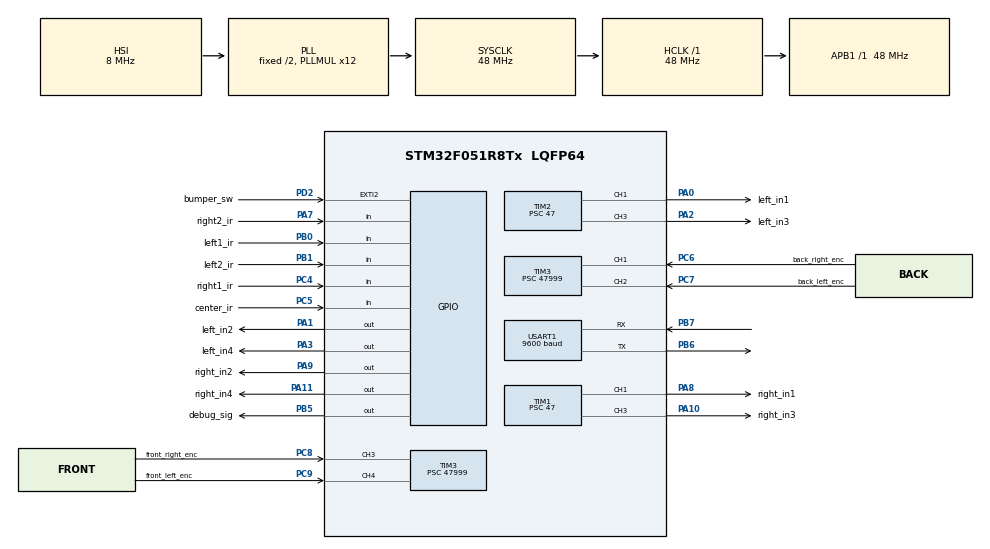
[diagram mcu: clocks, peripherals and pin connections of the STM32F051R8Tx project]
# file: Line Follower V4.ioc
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Mcu.Family=STM32F0
NVIC.TIM6_DAC_IRQn=true\:0\:0\:false\:false\:true\:true\:true
USART1.BaudRate=9600
PA14.GPIO_Label=SWCLK
PA0.GPIO_Label=left_in1
PC6.GPIO_Label=back_right_enc
PB0.GPIO_Label=left1_ir
TIM1.Pulse-PWM\ Generation1\ CH1=50
RCC.SYSCLKSource=RCC_SYSCLKSOURCE_PLLCLK
ProjectManager.StackSize=0x400
TIM3.Channel-Input_Capture3_from_TI3=TIM_CHANNEL_3
TIM1.Prescaler=47
TIM2.Pulse-PWM\ Generation3\ CH3=50
RCC.HCLKFreq_Value=48000000
PB6.Signal=USART1_TX
PC7.Signal=S_TIM3_CH2
PB6.Mode=Asynchronous
RCC.AHBFreq_Value=48000000
Dma.USART1_RX.0.Priority=DMA_PRIORITY_LOW
TIM3.Channel-Input_Capture1_from_TI1=TIM_CHANNEL_1
RCC.PLLMUL=RCC_PLL_MUL12
PC4.GPIO_Label=right1_ir
TIM1.Channel-PWM\ Generation1\ CH1=TIM_CHANNEL_1
PA14.Mode=Serial_Wire
TIM3.Prescaler=47999
PB1.GPIO_Label=left2_ir
PA10.GPIO_Label=right_in3
PB7.Signal=USART1_RX
PA8.Signal=S_TIM1_CH1
TIM2.Channel-PWM\ Generation1\ CH1=TIM_CHANNEL_1
SH.S_TIM3_CH1.0=TIM3_CH1,Input_Capture1_from_TI1
TIM6.Period=9999
Dma.USART1_RX.0.MemInc=DMA_MINC_ENABLE
VP_TIM1_VS_ClockSourceINT.Mode=Internal
PA0.Signal=S_TIM2_CH1_ETR
Mcu.Package=LQFP64
TIM2.Prescaler=47
PB1.Signal=GPIO_Input
PA2.GPIO_Label=left_in3
PA10.Signal=S_TIM1_CH3
PB5.GPIO_Label=debug_sig
RCC.APB1TimFreq_Value=48000000
Dma.USART1_RX.0.Mode=DMA_NORMAL
PC5.Signal=GPIO_Input
TIM1.Period=99
TIM16.Prescaler=2399
NVIC.USART1_IRQn=true\:0\:0\:false\:false\:true\:true\:true
Dma.Request0=USART1_RX
Dma.USART1_RX.0.Instance=DMA1_Channel3
VP_TIM3_VS_ClockSourceINT.Mode=Internal
PA3.Signal=GPIO_Output
Dma.USART1_RX.0.PeriphDataAlignment=DMA_PDATAALIGN_BYTE
TIM3.Channel-Input_Capture2_from_TI2=TIM_CHANNEL_2
PC9.GPIO_Label=front_left_enc
PA9.GPIO_Label=right_in2
PC8.Signal=S_TIM3_CH3
TIM6.Prescaler=23
PC4.Signal=GPIO_Input
PC6.Signal=S_TIM3_CH1
VP_TIM6_VS_ClockSourceINT.Mode=Enable_Timer
PA11.GPIO_Label=right_in4
VP_TIM16_VS_ClockSourceINT.Mode=Enable_Timer
NVIC.TIM16_IRQn=true\:0\:0\:false\:false\:true\:true\:true
SH.S_TIM3_CH3.0=TIM3_CH3,Input_Capture3_from_TI3
TIM2.Pulse-PWM\ Generation1\ CH1=50
PC8.GPIO_Label=front_right_enc
USART1.VirtualMode-Asynchronous=VM_ASYNC
PA13.Signal=SYS_SWDIO
PA8.GPIO_Label=right_in1
SH.S_TIM1_CH1.0=TIM1_CH1,PWM Generation1 CH1
ProjectManager.TargetToolchain=STM32CubeIDE
Dma.USART1_RX.0.Direction=DMA_PERIPH_TO_MEMORY
PA9.Signal=GPIO_Output
PA1.Signal=GPIO_Output
Dma.USART1_RX.0.PeriphInc=DMA_PINC_DISABLE
SH.S_TIM3_CH2.0=TIM3_CH2,Input_Capture2_from_TI2
board=STM32F0DISCOVERY
NVIC.TIM3_IRQn=true\:0\:0\:false\:false\:true\:true\:true
TIM16.Period=9999
VP_TIM2_VS_ClockSourceINT.Mode=Internal
SH.S_TIM2_CH3.0=TIM2_CH3,PWM Generation3 CH3
PA1.GPIO_Label=left_in2
TIM2.Channel-PWM\ Generation3\ CH3=TIM_CHANNEL_3
Dma.USART1_RX.0.MemDataAlignment=DMA_MDATAALIGN_BYTE
TIM3.Channel-Input_Capture4_from_TI4=TIM_CHANNEL_4
TIM2.Period=99
PA13.Mode=Serial_Wire
Mcu.Name=STM32F051R8Tx
PA2.Signal=S_TIM2_CH3
PA13.GPIO_Label=SWDIO
PC7.GPIO_Label=back_left_enc
RCC.SYSCLKFreq_VALUE=48000000
PB5.Signal=GPIO_Output
PA7.GPIO_Label=right2_ir
PC5.GPIO_Label=center_ir
PB7.Mode=Asynchronous
PA11.Signal=GPIO_Output
SH.S_TIM2_CH1_ETR.0=TIM2_CH1,PWM Generation1 CH1
PA14.Signal=SYS_SWCLK
ProjectManager.HeapSize=0x200
SH.S_TIM1_CH3.0=TIM1_CH3,PWM Generation3 CH3
NVIC.DMA1_Channel2_3_IRQn=true\:0\:0\:false\:false\:true\:false\:true
TIM3.ICFilter_CH4=15
TIM3.ICFilter_CH3=15
TIM3.ICFilter_CH2=15
TIM3.ICFilter_CH1=15
PC9.Signal=S_TIM3_CH4
TIM1.Channel-PWM\ Generation3\ CH3=TIM_CHANNEL_3
PD2.Signal=GPXTI2
RCC.APB1Freq_Value=48000000
PB0.Signal=GPIO_Input
PD2.GPIO_Label=bumper_sw
PA3.GPIO_Label=left_in4
SH.S_TIM3_CH4.0=TIM3_CH4,Input_Capture4_from_TI4
PA7.Signal=GPIO_Input

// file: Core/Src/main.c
/* USER CODE BEGIN Header */
/**
  ******************************************************************************
  * @file           : main.c
  * @brief          : Main program body
  ******************************************************************************
  * @attention
  *
  * <h2><center>&copy; Copyright (c) 2025 STMicroelectronics.
  * All rights reserved.</center></h2>
  *
  * This software component is licensed by ST under BSD 3-Clause license,
  * the "License"; You may not use this file except in compliance with the
  * License. You may obtain a copy of the License at:
  *                        opensource.org/licenses/BSD-3-Clause
  *
  ******************************************************************************
  */
/* USER CODE END Header */
#include "main.h"

/* USER CODE BEGIN Includes */
#include <string.h>
#include <stdio.h>
#include <ctype.h>
/* USER CODE END Includes */

/* USER CODE BEGIN PTD */
typedef enum{
	idle, manual_mode, follow_line, follow_line_until_turn, turn_right, turn_left, turn_around, t_intersection, finish
} state;

typedef enum{
	start_seq1, start_seq2, length, payload, checksum, send_data, req_resend, finished
} receive_fsm;

/* USER CODE END PTD */

TIM_HandleTypeDef htim1;
TIM_HandleTypeDef htim2;
TIM_HandleTypeDef htim3;
TIM_HandleTypeDef htim6;
TIM_HandleTypeDef htim16;

UART_HandleTypeDef huart1;
DMA_HandleTypeDef hdma_usart1_rx;

/* USER CODE BEGIN PV */
state robot_state = idle;

volatile uint8_t sw_pushed = 0;

volatile uint8_t remote_msg_received = 1;

char msg[100] = "";

uint8_t msg_from_remote[50];

uint8_t left_joy_x = 50;
uint8_t left_joy_y = 50;
uint8_t right_joy_x = 50;
uint8_t right_joy_y = 50;

uint8_t in_manual_mode = 0;
uint8_t start_robot = 0;
uint8_t in_tank_mode = 0;
uint8_t manual_mode_pulse_width = 50;

uint8_t started_by_remote = 0;

// state of the IR sensors under the robot (0 = white and 1 = black)
uint8_t left2 = 0;
uint8_t left1 = 0;
uint8_t center = 0;
uint8_t right1 = 0;
uint8_t right2 = 0;

uint8_t after_turn_around = 0;

uint8_t slow_pulse_width = 50;					// pulse width of the signal that drives the motors to move the robot slowly (in percentage!)
uint8_t fast_pulse_width = 98;					// pulse width of the signal that drives the motors to move the robot fast (in percentage!)

// variables to keep track of the current encoder count from the timer
volatile uint32_t front_left_enc_count = 0;
volatile uint32_t front_right_enc_count = 0;
volatile uint32_t back_left_enc_count = 0;
volatile uint32_t back_right_enc_count = 0;

// variables to keep track of the previous encoder count from the timer
uint32_t wheel_enc_count[4] = {0, 0, 0, 0};		// front left, front right, back left, back right

/* USER CODE END PV */

void SystemClock_Config(void);
static void MX_GPIO_Init(void);
static void MX_DMA_Init(void);
static void MX_TIM6_Init(void);
static void MX_USART1_UART_Init(void);
static void MX_TIM16_Init(void);
static void MX_TIM1_Init(void);
static void MX_TIM2_Init(void);
static void MX_TIM3_Init(void);
/* USER CODE BEGIN PFP */
void move_forward(uint8_t pulse_width);
void move_backward(uint8_t pulse_width);
void steer_right(uint8_t pulse_width);
void steer_left(uint8_t pulse_width);
void stop(void);
void record_current_enc_pos(void);
void transmit_data(uint8_t resend);
uint8_t process_data(uint8_t *darray, uint8_t start, uint8_t end);

uint8_t suff_dist_traveled(uint32_t travel_dist);

uint16_t calc_pulse_val(TIM_HandleTypeDef *htim, uint8_t pulse_width);
uint16_t calc_inv_pulse_val(TIM_HandleTypeDef *htim, uint8_t pulse_width);
/* USER CODE END PFP */

int main(void)
{

  /* MCU Configuration--------------------------------------------------------*/

  /* Reset of all peripherals, Initializes the Flash interface and the Systick. */
  HAL_Init();

  /* Configure the system clock */
  SystemClock_Config();

  /* Initialize all configured peripherals */
  MX_GPIO_Init();
  MX_DMA_Init();
  MX_TIM6_Init();
  MX_USART1_UART_Init();
  MX_TIM16_Init();
  MX_TIM1_Init();
  MX_TIM2_Init();
  MX_TIM3_Init();
  /* USER CODE BEGIN 2 */

  HAL_NVIC_SetPriority(EXTI2_3_IRQn, 0, 0);
  HAL_NVIC_EnableIRQ(EXTI2_3_IRQn);

  HAL_TIM_Base_Start_IT(&htim16);
  HAL_TIM_IC_Start_IT(&htim3, TIM_CHANNEL_1);
  HAL_TIM_IC_Start_IT(&htim3, TIM_CHANNEL_2);
  HAL_TIM_IC_Start_IT(&htim3, TIM_CHANNEL_3);
  HAL_TIM_IC_Start_IT(&htim3, TIM_CHANNEL_4);
  /* USER CODE END 2 */

  /* Infinite loop */
  /* USER CODE BEGIN WHILE */
  while (1)
  {
	  // receive data from the remote control
	  if (remote_msg_received) {
		  HAL_GPIO_WritePin(debug_sig_GPIO_Port, debug_sig_Pin, GPIO_PIN_SET);
		  HAL_UART_Receive_DMA(&huart1, msg_from_remote, 12);
		  remote_msg_received = 0;

		  uint8_t msg_len = 0;
		  receive_fsm receiver_state = start_seq1;
		  while (receiver_state != finished) {
			  // state machine for processing the received bytes of data
			  switch(receiver_state) {
			  case start_seq1:
				  if ((char) (msg_from_remote[0]) == 'W') {
					  receiver_state = start_seq2;
				  }
				  else {
					  receiver_state = req_resend;
				  }
				  break;
			  case start_seq2:
				  if ((char) (msg_from_remote[1] == 'Z')) {
					  receiver_state = length;
				  }
				  else {
					  receiver_state = req_resend;
				  }
				  break;
			  case length:
				  msg_len = msg_from_remote[2];
				  receiver_state = payload;
				  break;
			  case payload:	{
				  // the process_data function will return 0 if the robot requested a resend
				  uint8_t ret_val = process_data(msg_from_remote, 3, 3 + msg_len);
				  receiver_state = checksum;
				  break;
			  }
			  case checksum:
				  // perform a cyclic redundancy check
				  // this is not implemented yet!
				  receiver_state = send_data;
				  break;
			  case send_data:
				  // transmit data from the robot to the remote control
				  transmit_data(0);
				  receiver_state = finished;
				  break;
			  case req_resend:
				  transmit_data(1);
				  receiver_state = finished;
				  break;
			  default:
				  break;
			  }
		  }
	  }

	  HAL_GPIO_WritePin(debug_sig_GPIO_Port, debug_sig_Pin, GPIO_PIN_RESET);

	  // sample the IR sensors and store the result in the corresponding variables
	  left2 = (HAL_GPIO_ReadPin(GPIOB, left2_ir_Pin) == GPIO_PIN_SET) ? 1 : 0;
	  left1 = (HAL_GPIO_ReadPin(GPIOB, left1_ir_Pin) == GPIO_PIN_SET) ? 1 : 0;
	  center = (HAL_GPIO_ReadPin(GPIOC, center_ir_Pin) == GPIO_PIN_SET) ? 1 : 0;
	  right1 = (HAL_GPIO_ReadPin(GPIOC, right1_ir_Pin) == GPIO_PIN_SET) ? 1 : 0;
	  right2 = (HAL_GPIO_ReadPin(right2_ir_GPIO_Port, right2_ir_Pin) == GPIO_PIN_SET) ? 1 : 0;

	  // create a state machine to control the robot
	  /*
	   * Note: The control logic for the robot works as follows: the robot will continue moving on it's current path until it runs into an obstacle that
	   * presses it's bumper switch. Then the robot will turn around and take the first turn in the path that it encounters. If the bumper switch is
	   * pressed before it has made it's turn, the robot will stop and shift into idle mode. After the robot makes it's turn, it will shift back into
	   * it's default behavior of following the path until it bumps into something or it reaches the finish line.
	   */
	  switch (robot_state) {
	  	  // do not move until the bumper switch is pressed
		  case idle:
			  stop();

			  if (in_manual_mode) {
				  robot_state = manual_mode;
			  }
			  else if (!in_manual_mode && start_robot) {
				  robot_state = follow_line;
				  started_by_remote = 1;
			  }
			  else {

			  }

			  if (sw_pushed) {
				  sw_pushed = 0;
				  robot_state = follow_line;
			  }
			  break;
		  // in manual mode the robot is directly controlled by the remote control
		  case manual_mode:
			  if (in_tank_mode) {
				  if (left_joy_y < 25 && right_joy_y > 75) {
					  steer_left(manual_mode_pulse_width);
				  }
				  else if (left_joy_y > 75 && right_joy_y < 25) {
					  steer_right(manual_mode_pulse_width);
				  }
				  else if (left_joy_y > 75 && right_joy_y > 75) {
					  move_forward(manual_mode_pulse_width);
				  }
				  else if (left_joy_y < 25 && right_joy_y < 25) {
					  move_backward(manual_mode_pulse_width);
				  }
				  else {
					  stop();
				  }
			  }
			  else {
				  if (left_joy_y < 25) {
					  move_backward(manual_mode_pulse_width);
				  }
				  else if (left_joy_y > 75) {
					  move_forward(manual_mode_pulse_width);
				  }
				  else if (right_joy_x < 25) {
					  steer_left(manual_mode_pulse_width);
				  }
				  else if (right_joy_x > 75) {
					  steer_right(manual_mode_pulse_width);
				  }
				  else {
					  stop();
				  }
			  }

			  if (!in_manual_mode) {
				  robot_state = idle;
			  }

			  if (sw_pushed) {
				  sw_pushed = 0;
				  robot_state = idle;
			  }
			  break;
		  // follow the line until the bumper switch is pressed
		  case follow_line:
			  // if all IR sensors are blocked, possibly at the T intersection or at the finish line
			  if (left1 && center && right1) {
				  record_current_enc_pos();
				  robot_state = t_intersection;
			  }
			  // if right1 is blocked and left1 is not blocked, robot is moving off the line so steer right
			  else if (right1 && !left1) {
				  steer_right(fast_pulse_width);
			  }
			  // if left1 is blocked and right1 is not blocked, robot is moving off the line so steer left
			  else if (left1 && !right1) {
				  steer_left(fast_pulse_width);
			  }
			  // if none of the IR sensors are blocked or only the center IR sensor is blocked, robot is on the line so keep moving forward
			  else {
				  move_forward(slow_pulse_width);
			  }

			  if (in_manual_mode) {
				  robot_state = manual_mode;
			  }
			  else if (started_by_remote && !start_robot) {
				  robot_state = idle;
				  started_by_remote = 0;
			  }
			  else {

			  }

			  // if the bumper switch is pressed, turn the robot back the way it came
			  if (sw_pushed) {
				  sw_pushed = 0;
				  record_current_enc_pos();
				  robot_state = turn_around;
			  }
			  break;
		  // follow the line until there is a fork in the path
		  case follow_line_until_turn:
			  // if all IR sensors are blocked, possibly at the T intersection or at the finish line
			  if (left1 && center && right1) {
				  record_current_enc_pos();
				  robot_state = t_intersection;
			  }
			  // if right2 is blocked, the robot is at a fork in the path and should turn right
			  else if (right2) {
				  record_current_enc_pos();
				  robot_state = turn_right;
			  }
			  // if left2 is blocked, the robot is at a fork in the path and should turn left
			  else if (left2) {
				  record_current_enc_pos();
				  robot_state = turn_left;
			  }
			  // if right1 is blocked and left1 is not blocked, robot is moving off the line so steer right
			  else if (right1 && !left1) {
				  steer_right(fast_pulse_width);
			  }
			  // if left1 is blocked and right1 is not blocked, robot is moving off the line so steer left
			  else if (left1 && !right1) {
				  steer_left(fast_pulse_width);
			  }
			  // if none of the IR sensors are blocked or only the center IR sensor is blocked, robot is on the line so keep moving forward
			  else {
				  move_forward(slow_pulse_width);
			  }

			  if (in_manual_mode) {
				  robot_state = manual_mode;
			  }
			  else if (started_by_remote && !start_robot) {
				  robot_state = idle;
				  started_by_remote = 0;
			  }
			  else {

			  }

			  // if the bumper switch is pressed, put the robot in the idle state
			  if (sw_pushed) {
				  sw_pushed = 0;
				  robot_state = idle;
			  }
			  break;
		  // turn right onto a different path
		  case turn_right:
			  // keep turning right for a while to move the center IR sensor off the old path
			  if (suff_dist_traveled(5)) {
				  // if the center IR sensor is blocked, the robot is on the new path
				  if (center) {
					  if (after_turn_around) {
						  after_turn_around = 0;
						  robot_state = follow_line_until_turn;
					  }
					  else {
						  robot_state = follow_line;
					  }
				  }
				  else {
					  steer_right(fast_pulse_width);
				  }
			  }
			  else {
				  steer_right(fast_pulse_width);
			  }

			  if (in_manual_mode) {
				  robot_state = manual_mode;
			  }
			  else if (started_by_remote && !start_robot) {
				  robot_state = idle;
				  started_by_remote = 0;
			  }
			  else {

			  }

			  // if the bumper switch is pressed, put the robot in the idle state
			  if (sw_pushed) {
				  sw_pushed = 0;
				  robot_state = idle;
			  }
			  break;
		  // turn left onto a different path
		  case turn_left:
			  // keep turning left for a while to move the center IR sensor off the old path
			  if (suff_dist_traveled(5)) {
				  // if the center IR sensor is blocked, the robot is on the new path
				  if (center) {
					  if (after_turn_around) {
						  after_turn_around = 0;
						  robot_state = follow_line_until_turn;
					  }
					  else {
						  robot_state = follow_line;
					  }
				  }
				  else {
					  steer_left(fast_pulse_width);
				  }
			  }
			  else {
				  steer_left(fast_pulse_width);
			  }

			  if (in_manual_mode) {
				  robot_state = manual_mode;
			  }
			  else if (started_by_remote && !start_robot) {
				  started_by_remote = 0;
				  robot_state = idle;
			  }
			  else {

			  }

			  // if the bumper switch is pressed, put the robot in the idle state
			  if (sw_pushed) {
				  sw_pushed = 0;
				  robot_state = idle;
			  }
			  break;
		  // turn the robot around 180 degrees back onto the path it has already traversed
		  case turn_around:
			  // move the robot back to ensure it won't bump into the obstacle when turning around
			  if (suff_dist_traveled(5)) {

				  // set this variable to ensure the robot's state will transition into the follow_line_until_turn state instead of the follow_line state
				  after_turn_around = 1;

				  record_current_enc_pos();

				  // the robot will always turn left
				  robot_state = turn_left;
			  }
			  else {
				  move_backward(slow_pulse_width);
			  }

			  if (in_manual_mode) {
				  robot_state = manual_mode;
			  }
			  else if (started_by_remote && !start_robot) {
				  started_by_remote = 0;
				  robot_state = idle;
			  }
			  else {

			  }

			  // if the bumper switch is pressed, put the robot in the idle state
			  if (sw_pushed) {
				  sw_pushed = 0;
				  robot_state = idle;
			  }
			  break;
		  // determine whether the robot is at a T intersection or has reached the finish line
		  case t_intersection:
			  // move forward a little bit and check the IR sensors again
			  if (suff_dist_traveled(2)) {
				  // if all sensors are blocked the robot is at the finish line (because the finish line is thicker than the normal path)
				  if (left2 && left1 && center && right1 && right2) {
					  robot_state = finish;
				  }
				  // otherwise the robot is at a T intersection so turn onto the right path
				  else {
					  robot_state = turn_right;
				  }
			  }
			  else {
				  move_forward(slow_pulse_width);
			  }

			  if (in_manual_mode) {
				  robot_state = manual_mode;
			  }
			  else if (started_by_remote && !start_robot) {
				  started_by_remote = 0;
				  robot_state = idle;
			  }
			  else {

			  }

			  // if the bumper switch is pressed, put the robot in the idle state
			  if (sw_pushed) {
				  sw_pushed = 0;
				  robot_state = idle;
			  }
			  break;
		  // stop the robot when it has reached the finish line
		  case finish:
			  stop();

			  if (in_manual_mode) {
				  robot_state = manual_mode;
			  }
			  else if (!start_robot) {
				  robot_state = idle;
			  }
			  else {

			  }

			  // if the bumper switch is pressed, put the robot in the idle state
			  if (sw_pushed) {
				  sw_pushed = 0;
				  robot_state = idle;
			  }
			  break;
		  default:
			  break;
	  }

    /* USER CODE END WHILE */

  }
}

void SystemClock_Config(void)
{
  RCC_OscInitTypeDef RCC_OscInitStruct = {0};
  RCC_ClkInitTypeDef RCC_ClkInitStruct = {0};
  RCC_PeriphCLKInitTypeDef PeriphClkInit = {0};

  /** Initializes the RCC Oscillators according to the specified parameters
  * in the RCC_OscInitTypeDef structure.
  */
  RCC_OscInitStruct.OscillatorType = RCC_OSCILLATORTYPE_HSI;
  RCC_OscInitStruct.HSIState = RCC_HSI_ON;
  RCC_OscInitStruct.HSICalibrationValue = RCC_HSICALIBRATION_DEFAULT;
  RCC_OscInitStruct.PLL.PLLState = RCC_PLL_ON;
  RCC_OscInitStruct.PLL.PLLSource = RCC_PLLSOURCE_HSI;
  RCC_OscInitStruct.PLL.PLLMUL = RCC_PLL_MUL12;
  RCC_OscInitStruct.PLL.PREDIV = RCC_PREDIV_DIV1;
  if (HAL_RCC_OscConfig(&RCC_OscInitStruct) != HAL_OK)
  {
    Error_Handler();
  }
  /** Initializes the CPU, AHB and APB buses clocks
  */
  RCC_ClkInitStruct.ClockType = RCC_CLOCKTYPE_HCLK|RCC_CLOCKTYPE_SYSCLK
                              |RCC_CLOCKTYPE_PCLK1;
  RCC_ClkInitStruct.SYSCLKSource = RCC_SYSCLKSOURCE_PLLCLK;
  RCC_ClkInitStruct.AHBCLKDivider = RCC_SYSCLK_DIV1;
  RCC_ClkInitStruct.APB1CLKDivider = RCC_HCLK_DIV1;

  if (HAL_RCC_ClockConfig(&RCC_ClkInitStruct, FLASH_LATENCY_1) != HAL_OK)
  {
    Error_Handler();
  }
  PeriphClkInit.PeriphClockSelection = RCC_PERIPHCLK_USART1;
  PeriphClkInit.Usart1ClockSelection = RCC_USART1CLKSOURCE_PCLK1;
  if (HAL_RCCEx_PeriphCLKConfig(&PeriphClkInit) != HAL_OK)
  {
    Error_Handler();
  }
}

static void MX_TIM1_Init(void)
{

  TIM_ClockConfigTypeDef sClockSourceConfig = {0};
  TIM_MasterConfigTypeDef sMasterConfig = {0};
  TIM_OC_InitTypeDef sConfigOC = {0};
  TIM_BreakDeadTimeConfigTypeDef sBreakDeadTimeConfig = {0};

  htim1.Instance = TIM1;
  htim1.Init.Prescaler = 47;
  htim1.Init.CounterMode = TIM_COUNTERMODE_UP;
  htim1.Init.Period = 99;
  htim1.Init.ClockDivision = TIM_CLOCKDIVISION_DIV1;
  htim1.Init.RepetitionCounter = 0;
  htim1.Init.AutoReloadPreload = TIM_AUTORELOAD_PRELOAD_DISABLE;
  if (HAL_TIM_Base_Init(&htim1) != HAL_OK)
  {
    Error_Handler();
  }
  sClockSourceConfig.ClockSource = TIM_CLOCKSOURCE_INTERNAL;
  if (HAL_TIM_ConfigClockSource(&htim1, &sClockSourceConfig) != HAL_OK)
  {
    Error_Handler();
  }
  if (HAL_TIM_PWM_Init(&htim1) != HAL_OK)
  {
    Error_Handler();
  }
  sMasterConfig.MasterOutputTrigger = TIM_TRGO_RESET;
  sMasterConfig.MasterSlaveMode = TIM_MASTERSLAVEMODE_DISABLE;
  if (HAL_TIMEx_MasterConfigSynchronization(&htim1, &sMasterConfig) != HAL_OK)
  {
    Error_Handler();
  }
  sConfigOC.OCMode = TIM_OCMODE_PWM1;
  sConfigOC.Pulse = 50;
  sConfigOC.OCPolarity = TIM_OCPOLARITY_HIGH;
  sConfigOC.OCNPolarity = TIM_OCNPOLARITY_HIGH;
  sConfigOC.OCFastMode = TIM_OCFAST_DISABLE;
  sConfigOC.OCIdleState = TIM_OCIDLESTATE_RESET;
  sConfigOC.OCNIdleState = TIM_OCNIDLESTATE_RESET;
  if (HAL_TIM_PWM_ConfigChannel(&htim1, &sConfigOC, TIM_CHANNEL_1) != HAL_OK)
  {
    Error_Handler();
  }
  sConfigOC.Pulse = 0;
  if (HAL_TIM_PWM_ConfigChannel(&htim1, &sConfigOC, TIM_CHANNEL_3) != HAL_OK)
  {
    Error_Handler();
  }
  sBreakDeadTimeConfig.OffStateRunMode = TIM_OSSR_DISABLE;
  sBreakDeadTimeConfig.OffStateIDLEMode = TIM_OSSI_DISABLE;
  sBreakDeadTimeConfig.LockLevel = TIM_LOCKLEVEL_OFF;
  sBreakDeadTimeConfig.DeadTime = 0;
  sBreakDeadTimeConfig.BreakState = TIM_BREAK_DISABLE;
  sBreakDeadTimeConfig.BreakPolarity = TIM_BREAKPOLARITY_HIGH;
  sBreakDeadTimeConfig.AutomaticOutput = TIM_AUTOMATICOUTPUT_DISABLE;
  if (HAL_TIMEx_ConfigBreakDeadTime(&htim1, &sBreakDeadTimeConfig) != HAL_OK)
  {
    Error_Handler();
  }
  HAL_TIM_MspPostInit(&htim1);

}

static void MX_TIM2_Init(void)
{

  TIM_ClockConfigTypeDef sClockSourceConfig = {0};
  TIM_MasterConfigTypeDef sMasterConfig = {0};
  TIM_OC_InitTypeDef sConfigOC = {0};

  htim2.Instance = TIM2;
  htim2.Init.Prescaler = 47;
  htim2.Init.CounterMode = TIM_COUNTERMODE_UP;
  htim2.Init.Period = 99;
  htim2.Init.ClockDivision = TIM_CLOCKDIVISION_DIV1;
  htim2.Init.AutoReloadPreload = TIM_AUTORELOAD_PRELOAD_DISABLE;
  if (HAL_TIM_Base_Init(&htim2) != HAL_OK)
  {
    Error_Handler();
  }
  sClockSourceConfig.ClockSource = TIM_CLOCKSOURCE_INTERNAL;
  if (HAL_TIM_ConfigClockSource(&htim2, &sClockSourceConfig) != HAL_OK)
  {
    Error_Handler();
  }
  if (HAL_TIM_PWM_Init(&htim2) != HAL_OK)
  {
    Error_Handler();
  }
  sMasterConfig.MasterOutputTrigger = TIM_TRGO_RESET;
  sMasterConfig.MasterSlaveMode = TIM_MASTERSLAVEMODE_DISABLE;
  if (HAL_TIMEx_MasterConfigSynchronization(&htim2, &sMasterConfig) != HAL_OK)
  {
    Error_Handler();
  }
  sConfigOC.OCMode = TIM_OCMODE_PWM1;
  sConfigOC.Pulse = 50;
  sConfigOC.OCPolarity = TIM_OCPOLARITY_HIGH;
  sConfigOC.OCFastMode = TIM_OCFAST_DISABLE;
  if (HAL_TIM_PWM_ConfigChannel(&htim2, &sConfigOC, TIM_CHANNEL_1) != HAL_OK)
  {
    Error_Handler();
  }
  if (HAL_TIM_PWM_ConfigChannel(&htim2, &sConfigOC, TIM_CHANNEL_3) != HAL_OK)
  {
    Error_Handler();
  }
  HAL_TIM_MspPostInit(&htim2);

}

static void MX_TIM3_Init(void)
{

  TIM_ClockConfigTypeDef sClockSourceConfig = {0};
  TIM_MasterConfigTypeDef sMasterConfig = {0};
  TIM_IC_InitTypeDef sConfigIC = {0};

  htim3.Instance = TIM3;
  htim3.Init.Prescaler = 47999;
  htim3.Init.CounterMode = TIM_COUNTERMODE_UP;
  htim3.Init.Period = 65535;
  htim3.Init.ClockDivision = TIM_CLOCKDIVISION_DIV1;
  htim3.Init.AutoReloadPreload = TIM_AUTORELOAD_PRELOAD_DISABLE;
  if (HAL_TIM_Base_Init(&htim3) != HAL_OK)
  {
    Error_Handler();
  }
  sClockSourceConfig.ClockSource = TIM_CLOCKSOURCE_INTERNAL;
  if (HAL_TIM_ConfigClockSource(&htim3, &sClockSourceConfig) != HAL_OK)
  {
    Error_Handler();
  }
  if (HAL_TIM_IC_Init(&htim3) != HAL_OK)
  {
    Error_Handler();
  }
  sMasterConfig.MasterOutputTrigger = TIM_TRGO_RESET;
  sMasterConfig.MasterSlaveMode = TIM_MASTERSLAVEMODE_DISABLE;
  if (HAL_TIMEx_MasterConfigSynchronization(&htim3, &sMasterConfig) != HAL_OK)
  {
    Error_Handler();
  }
  sConfigIC.ICPolarity = TIM_INPUTCHANNELPOLARITY_RISING;
  sConfigIC.ICSelection = TIM_ICSELECTION_DIRECTTI;
  sConfigIC.ICPrescaler = TIM_ICPSC_DIV1;
  sConfigIC.ICFilter = 15;
  if (HAL_TIM_IC_ConfigChannel(&htim3, &sConfigIC, TIM_CHANNEL_1) != HAL_OK)
  {
    Error_Handler();
  }
  if (HAL_TIM_IC_ConfigChannel(&htim3, &sConfigIC, TIM_CHANNEL_2) != HAL_OK)
  {
    Error_Handler();
  }
  if (HAL_TIM_IC_ConfigChannel(&htim3, &sConfigIC, TIM_CHANNEL_3) != HAL_OK)
  {
    Error_Handler();
  }
  if (HAL_TIM_IC_ConfigChannel(&htim3, &sConfigIC, TIM_CHANNEL_4) != HAL_OK)
  {
    Error_Handler();
  }

}

static void MX_TIM6_Init(void)
{

  TIM_MasterConfigTypeDef sMasterConfig = {0};

  htim6.Instance = TIM6;
  htim6.Init.Prescaler = 23;
  htim6.Init.CounterMode = TIM_COUNTERMODE_UP;
  htim6.Init.Period = 9999;
  htim6.Init.AutoReloadPreload = TIM_AUTORELOAD_PRELOAD_DISABLE;
  if (HAL_TIM_Base_Init(&htim6) != HAL_OK)
  {
    Error_Handler();
  }
  sMasterConfig.MasterOutputTrigger = TIM_TRGO_RESET;
  sMasterConfig.MasterSlaveMode = TIM_MASTERSLAVEMODE_DISABLE;
  if (HAL_TIMEx_MasterConfigSynchronization(&htim6, &sMasterConfig) != HAL_OK)
  {
    Error_Handler();
  }

}

static void MX_TIM16_Init(void)
{

  htim16.Instance = TIM16;
  htim16.Init.Prescaler = 2399;
  htim16.Init.CounterMode = TIM_COUNTERMODE_UP;
  htim16.Init.Period = 9999;
  htim16.Init.ClockDivision = TIM_CLOCKDIVISION_DIV1;
  htim16.Init.RepetitionCounter = 0;
  htim16.Init.AutoReloadPreload = TIM_AUTORELOAD_PRELOAD_DISABLE;
  if (HAL_TIM_Base_Init(&htim16) != HAL_OK)
  {
    Error_Handler();
  }

}

static void MX_USART1_UART_Init(void)
{

  huart1.Instance = USART1;
  huart1.Init.BaudRate = 9600;
  huart1.Init.WordLength = UART_WORDLENGTH_8B;
  huart1.Init.StopBits = UART_STOPBITS_1;
  huart1.Init.Parity = UART_PARITY_NONE;
  huart1.Init.Mode = UART_MODE_TX_RX;
  huart1.Init.HwFlowCtl = UART_HWCONTROL_NONE;
  huart1.Init.OverSampling = UART_OVERSAMPLING_16;
  huart1.Init.OneBitSampling = UART_ONE_BIT_SAMPLE_DISABLE;
  huart1.AdvancedInit.AdvFeatureInit = UART_ADVFEATURE_NO_INIT;
  if (HAL_UART_Init(&huart1) != HAL_OK)
  {
    Error_Handler();
  }

}

static void MX_DMA_Init(void)
{

  /* DMA controller clock enable */
  __HAL_RCC_DMA1_CLK_ENABLE();

  /* DMA interrupt init */
  /* DMA1_Channel2_3_IRQn interrupt configuration */
  HAL_NVIC_SetPriority(DMA1_Channel2_3_IRQn, 0, 0);
  HAL_NVIC_EnableIRQ(DMA1_Channel2_3_IRQn);

}

static void MX_GPIO_Init(void)
{
  GPIO_InitTypeDef GPIO_InitStruct = {0};

  /* GPIO Ports Clock Enable */
  __HAL_RCC_GPIOA_CLK_ENABLE();
  __HAL_RCC_GPIOC_CLK_ENABLE();
  __HAL_RCC_GPIOB_CLK_ENABLE();
  __HAL_RCC_GPIOD_CLK_ENABLE();

  /*Configure GPIO pin Output Level */
  HAL_GPIO_WritePin(GPIOA, left_in2_Pin|left_in4_Pin|right_in2_Pin|right_in4_Pin, GPIO_PIN_RESET);

  /*Configure GPIO pin Output Level */
  HAL_GPIO_WritePin(debug_sig_GPIO_Port, debug_sig_Pin, GPIO_PIN_RESET);

  /*Configure GPIO pins : left_in2_Pin left_in4_Pin right_in2_Pin right_in4_Pin */
  GPIO_InitStruct.Pin = left_in2_Pin|left_in4_Pin|right_in2_Pin|right_in4_Pin;
  GPIO_InitStruct.Mode = GPIO_MODE_OUTPUT_PP;
  GPIO_InitStruct.Pull = GPIO_NOPULL;
  GPIO_InitStruct.Speed = GPIO_SPEED_FREQ_LOW;
  HAL_GPIO_Init(GPIOA, &GPIO_InitStruct);

  /*Configure GPIO pin : right2_ir_Pin */
  GPIO_InitStruct.Pin = right2_ir_Pin;
  GPIO_InitStruct.Mode = GPIO_MODE_INPUT;
  GPIO_InitStruct.Pull = GPIO_NOPULL;
  HAL_GPIO_Init(right2_ir_GPIO_Port, &GPIO_InitStruct);

  /*Configure GPIO pins : right1_ir_Pin center_ir_Pin */
  GPIO_InitStruct.Pin = right1_ir_Pin|center_ir_Pin;
  GPIO_InitStruct.Mode = GPIO_MODE_INPUT;
  GPIO_InitStruct.Pull = GPIO_NOPULL;
  HAL_GPIO_Init(GPIOC, &GPIO_InitStruct);

  /*Configure GPIO pins : left1_ir_Pin left2_ir_Pin */
  GPIO_InitStruct.Pin = left1_ir_Pin|left2_ir_Pin;
  GPIO_InitStruct.Mode = GPIO_MODE_INPUT;
  GPIO_InitStruct.Pull = GPIO_NOPULL;
  HAL_GPIO_Init(GPIOB, &GPIO_InitStruct);

  /*Configure GPIO pin : bumper_sw_Pin */
  GPIO_InitStruct.Pin = bumper_sw_Pin;
  GPIO_InitStruct.Mode = GPIO_MODE_IT_RISING;
  GPIO_InitStruct.Pull = GPIO_NOPULL;
  HAL_GPIO_Init(bumper_sw_GPIO_Port, &GPIO_InitStruct);

  /*Configure GPIO pin : debug_sig_Pin */
  GPIO_InitStruct.Pin = debug_sig_Pin;
  GPIO_InitStruct.Mode = GPIO_MODE_OUTPUT_PP;
  GPIO_InitStruct.Pull = GPIO_NOPULL;
  GPIO_InitStruct.Speed = GPIO_SPEED_FREQ_LOW;
  HAL_GPIO_Init(debug_sig_GPIO_Port, &GPIO_InitStruct);

}

/* USER CODE BEGIN 4 */
// generating the PWM signals to drive the motors requires providing the on time of the signal as a fraction of the Period field of the timer
// this function accepts a pulse_width parameter in percentage and generates an integer with the required on time for the PWM signal
uint16_t calc_pulse_val(TIM_HandleTypeDef *htim, uint8_t pulse_width) {
	return (uint16_t) (((float) (pulse_width) / 100.0) * htim->Init.Period);
}

// this function accepts a pulse_width parameter in percentage and generates an integer with the required off time for the PWM signal
uint16_t calc_inv_pulse_val(TIM_HandleTypeDef *htim, uint8_t pulse_width) {
	return (uint16_t) (((float) (100 - pulse_width) / 100.0) * htim->Init.Period);
}

// this function records the current encoder count of the wheels
void record_current_enc_pos(void) {
	wheel_enc_count[0] = front_left_enc_count;
	wheel_enc_count[1] = front_right_enc_count;
	wheel_enc_count[2] = back_left_enc_count;
	wheel_enc_count[3] = back_right_enc_count;
}

// this function determines whether all 4 wheels have traveled the required number of indentations (travel_dist) of the encoders
uint8_t suff_dist_traveled(uint32_t travel_dist) {
	if ((front_left_enc_count - wheel_enc_count[0]) >= travel_dist &&
	    (front_right_enc_count - wheel_enc_count[1]) >= travel_dist &&
		(back_left_enc_count - wheel_enc_count[2]) >= travel_dist &&
		(back_right_enc_count - wheel_enc_count[3]) >= travel_dist) {
		return 1;
	}
	else {
		return 0;
	}
}

void move_forward(uint8_t pulse_width) {
	__HAL_TIM_SET_COMPARE(&htim2, TIM_CHANNEL_1, calc_inv_pulse_val(&htim2, pulse_width));
	HAL_TIM_PWM_Start(&htim2, TIM_CHANNEL_1);
	HAL_GPIO_WritePin(GPIOA, left_in2_Pin, GPIO_PIN_SET);

	__HAL_TIM_SET_COMPARE(&htim2, TIM_CHANNEL_3, calc_inv_pulse_val(&htim2, pulse_width));
	HAL_TIM_PWM_Start(&htim2, TIM_CHANNEL_3);
	HAL_GPIO_WritePin(GPIOA, left_in4_Pin, GPIO_PIN_SET);

	__HAL_TIM_SET_COMPARE(&htim1, TIM_CHANNEL_1, calc_pulse_val(&htim1, pulse_width));
	HAL_TIM_PWM_Start(&htim1, TIM_CHANNEL_1);
	HAL_GPIO_WritePin(GPIOA, right_in2_Pin, GPIO_PIN_RESET);

	__HAL_TIM_SET_COMPARE(&htim1, TIM_CHANNEL_3, calc_pulse_val(&htim1, pulse_width));
	HAL_TIM_PWM_Start(&htim1, TIM_CHANNEL_3);
	HAL_GPIO_WritePin(GPIOA, right_in4_Pin, GPIO_PIN_RESET);
}

void move_backward(uint8_t pulse_width) {
	__HAL_TIM_SET_COMPARE(&htim2, TIM_CHANNEL_1, calc_pulse_val(&htim2, pulse_width));
	HAL_TIM_PWM_Start(&htim2, TIM_CHANNEL_1);
	HAL_GPIO_WritePin(GPIOA, left_in2_Pin, GPIO_PIN_RESET);

	__HAL_TIM_SET_COMPARE(&htim2, TIM_CHANNEL_3,calc_pulse_val(&htim2, pulse_width));
	HAL_TIM_PWM_Start(&htim2, TIM_CHANNEL_3);
	HAL_GPIO_WritePin(GPIOA, left_in4_Pin, GPIO_PIN_RESET);

	__HAL_TIM_SET_COMPARE(&htim1, TIM_CHANNEL_1, calc_inv_pulse_val(&htim1, pulse_width));
	HAL_TIM_PWM_Start(&htim1, TIM_CHANNEL_1);
	HAL_GPIO_WritePin(GPIOA, right_in2_Pin, GPIO_PIN_SET);

	__HAL_TIM_SET_COMPARE(&htim1, TIM_CHANNEL_3, calc_inv_pulse_val(&htim1, pulse_width));
	HAL_TIM_PWM_Start(&htim1, TIM_CHANNEL_3);
	HAL_GPIO_WritePin(GPIOA, right_in4_Pin, GPIO_PIN_SET);
}

void steer_right(uint8_t pulse_width) {
	__HAL_TIM_SET_COMPARE(&htim2, TIM_CHANNEL_1, calc_inv_pulse_val(&htim2, pulse_width));
	HAL_TIM_PWM_Start(&htim2, TIM_CHANNEL_1);
	HAL_GPIO_WritePin(GPIOA, left_in2_Pin, GPIO_PIN_SET);

	__HAL_TIM_SET_COMPARE(&htim2, TIM_CHANNEL_3, calc_inv_pulse_val(&htim2, pulse_width));
	HAL_TIM_PWM_Start(&htim2, TIM_CHANNEL_3);
	HAL_GPIO_WritePin(GPIOA, left_in4_Pin, GPIO_PIN_SET);

	__HAL_TIM_SET_COMPARE(&htim1, TIM_CHANNEL_1, calc_inv_pulse_val(&htim1, pulse_width));
	HAL_TIM_PWM_Start(&htim1, TIM_CHANNEL_1);
	HAL_GPIO_WritePin(GPIOA, right_in2_Pin, GPIO_PIN_SET);

	__HAL_TIM_SET_COMPARE(&htim1, TIM_CHANNEL_3, calc_inv_pulse_val(&htim1, pulse_width));
	HAL_TIM_PWM_Start(&htim1, TIM_CHANNEL_3);
	HAL_GPIO_WritePin(GPIOA, right_in4_Pin, GPIO_PIN_SET);
}

void steer_left(uint8_t pulse_width) {
	__HAL_TIM_SET_COMPARE(&htim2, TIM_CHANNEL_1, calc_pulse_val(&htim2, pulse_width));
	HAL_TIM_PWM_Start(&htim2, TIM_CHANNEL_1);
	HAL_GPIO_WritePin(GPIOA, left_in2_Pin, GPIO_PIN_RESET);

	__HAL_TIM_SET_COMPARE(&htim2, TIM_CHANNEL_3, calc_pulse_val(&htim2, pulse_width));
	HAL_TIM_PWM_Start(&htim2, TIM_CHANNEL_3);
	HAL_GPIO_WritePin(GPIOA, left_in4_Pin, GPIO_PIN_RESET);

	__HAL_TIM_SET_COMPARE(&htim1, TIM_CHANNEL_1, calc_pulse_val(&htim1, pulse_width));
	HAL_TIM_PWM_Start(&htim1, TIM_CHANNEL_1);
	HAL_GPIO_WritePin(GPIOA, right_in2_Pin, GPIO_PIN_RESET);

	__HAL_TIM_SET_COMPARE(&htim1, TIM_CHANNEL_3, calc_pulse_val(&htim1, pulse_width));
	HAL_TIM_PWM_Start(&htim1, TIM_CHANNEL_3);
	HAL_GPIO_WritePin(GPIOA, right_in4_Pin, GPIO_PIN_RESET);
}

void stop(void) {
	HAL_TIM_PWM_Stop(&htim2, TIM_CHANNEL_1);
	HAL_GPIO_WritePin(GPIOA, left_in2_Pin, GPIO_PIN_RESET);

	HAL_TIM_PWM_Stop(&htim2, TIM_CHANNEL_3);
	HAL_GPIO_WritePin(GPIOA, left_in4_Pin, GPIO_PIN_RESET);

	HAL_TIM_PWM_Stop(&htim1, TIM_CHANNEL_1);
	HAL_GPIO_WritePin(GPIOA, right_in2_Pin, GPIO_PIN_RESET);

	HAL_TIM_PWM_Stop(&htim1, TIM_CHANNEL_3);
	HAL_GPIO_WritePin(GPIOA, right_in4_Pin, GPIO_PIN_RESET);
}

void transmit_data(uint8_t resend) {
	uint8_t msg_to_remote[50];

	msg_to_remote[0] = 'Q';
	msg_to_remote[1] = 'Z';

	// number of payload bytes
	msg_to_remote[2] = 5;

	// request the remote to resend the data
	if (resend) {
		msg_to_remote[3] = 'R';
		msg_to_remote[4] = 0;
		msg_to_remote[5] = 0;
		msg_to_remote[6] = 0;
		msg_to_remote[7] = 0;
	}
	// otherwise transmit data to the remote as normal
	else {
		msg_to_remote[3] = left2;
		msg_to_remote[4] = left1;
		msg_to_remote[5] = center;
		msg_to_remote[6] = right1;
		msg_to_remote[7] = right2;
	}

	msg_to_remote[8] = 0;
	HAL_UART_Transmit(&huart1, msg_to_remote, 9, HAL_MAX_DELAY);
}

uint8_t process_data(uint8_t *darray, uint8_t start, uint8_t end) {
	if (*(darray + start) == 'R') {
		in_manual_mode = 0;
		start_robot = 0;
		in_tank_mode = 0;
		manual_mode_pulse_width = 50;
		left_joy_x = 50;
		left_joy_y = 50;
		right_joy_x = 50;
		right_joy_y = 50;
		return 0;
	}
	else {
		in_manual_mode = *(darray + start);
		start_robot = *(darray + start + 1);
		in_tank_mode = *(darray + start + 2);
		manual_mode_pulse_width = *(darray + start + 3);
		left_joy_x = *(darray + start + 4);
		left_joy_y = *(darray + start + 5);
		right_joy_x = *(darray + start + 6);
		right_joy_y = *(darray + start + 7);
		return 1;
	}
}

void EXTI2_3_IRQHandler(void) {
	HAL_GPIO_EXTI_IRQHandler(bumper_sw_Pin);
}

void HAL_GPIO_EXTI_Callback(uint16_t GPIO_Pin) {
	if (GPIO_Pin == bumper_sw_Pin) {
		HAL_TIM_Base_Start_IT(&htim6);
	}
}

void HAL_TIM_PeriodElapsedCallback(TIM_HandleTypeDef *htim) {
	if (htim->Instance == TIM6) {
		HAL_TIM_Base_Stop_IT(htim);

		// change the mode of the external interrupt pin into a GPIO input pin
		GPIO_InitTypeDef GPIO_InitStruct = {0};
		GPIO_InitStruct.Pin = bumper_sw_Pin;
		GPIO_InitStruct.Mode = GPIO_MODE_INPUT;
		GPIO_InitStruct.Pull = GPIO_NOPULL;
		HAL_GPIO_Init(bumper_sw_GPIO_Port, &GPIO_InitStruct);

		if (HAL_GPIO_ReadPin(bumper_sw_GPIO_Port, bumper_sw_Pin) == GPIO_PIN_RESET) {
			if (sw_pushed == 0) {
				sw_pushed = 1;
			}
			else {
				sw_pushed = 0;
			}
		}

		// change the mode of the GPIO pin back into an external interrupt
		GPIO_InitStruct.Mode = GPIO_MODE_IT_FALLING;
		GPIO_InitStruct.Pull = GPIO_PULLUP;
		HAL_GPIO_Init(bumper_sw_GPIO_Port, &GPIO_InitStruct);
	}
	else if (htim->Instance == TIM16) {
		HAL_UART_DMAStop(&huart1);
		HAL_UART_Receive_DMA(&huart1, msg_from_remote, 12);
	}
	else {

	}
}

void HAL_TIM_IC_CaptureCallback(TIM_HandleTypeDef *htim) {
	if (htim->Instance == TIM3) {
		if (htim->Channel == HAL_TIM_ACTIVE_CHANNEL_1) {
			++back_right_enc_count;
		}
		else if (htim->Channel == HAL_TIM_ACTIVE_CHANNEL_2) {
			++back_left_enc_count;
		}
		else if (htim->Channel == HAL_TIM_ACTIVE_CHANNEL_3) {
			++front_right_enc_count;
		}
		else if (htim->Channel == HAL_TIM_ACTIVE_CHANNEL_4) {
			++front_left_enc_count;
		}
		else {

		}
	}
}

void HAL_UART_RxCpltCallback(UART_HandleTypeDef *huart) {
	remote_msg_received = 1;
	__HAL_TIM_SET_COUNTER(&htim16, 0);
}

/* USER CODE END 4 */

void Error_Handler(void)
{
  __disable_irq();
  while (1)
  {
  }
}

/************************ (C) COPYRIGHT STMicroelectronics *****END OF FILE****/
